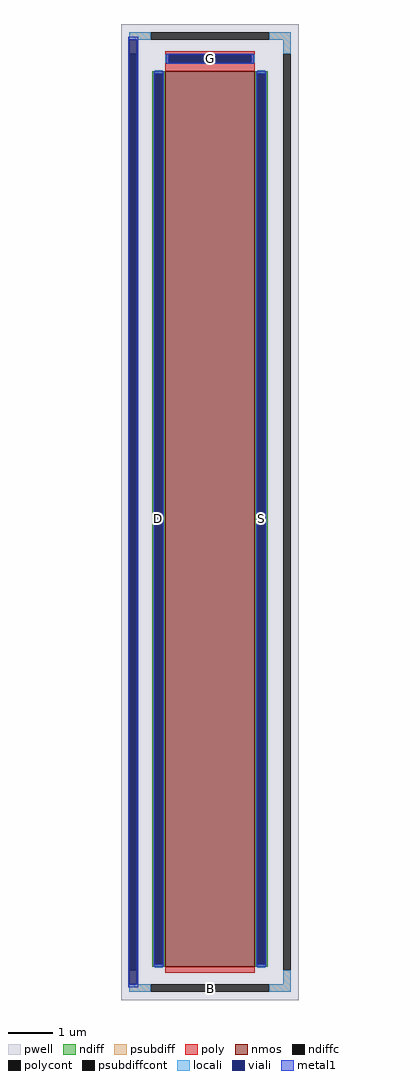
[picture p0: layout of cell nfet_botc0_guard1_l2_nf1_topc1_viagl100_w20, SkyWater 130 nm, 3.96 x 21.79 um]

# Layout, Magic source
magic
tech sky130A
magscale 1 2
<< pwell >>
rect -396 -2179 396 2179
<< nmos >>
rect -200 -2031 200 1969
<< ndiff >>
rect -258 1957 -200 1969
rect -258 -2019 -246 1957
rect -212 -2019 -200 1957
rect -258 -2031 -200 -2019
rect 200 1957 258 1969
rect 200 -2019 212 1957
rect 246 -2019 258 1957
rect 200 -2031 258 -2019
<< ndiffc >>
rect -246 -2019 -212 1957
rect 212 -2019 246 1957
<< psubdiff >>
rect -360 2109 -264 2143
rect 264 2109 360 2143
rect -360 2047 -326 2109
rect 326 2047 360 2109
rect -360 -2109 -326 -2047
rect 326 -2109 360 -2047
rect -360 -2143 -264 -2109
rect 264 -2143 360 -2109
<< psubdiffcont >>
rect -264 2109 264 2143
rect -360 -2047 -326 2047
rect 326 -2047 360 2047
rect -264 -2143 264 -2109
<< poly >>
rect -200 2041 200 2057
rect -200 2007 -184 2041
rect 184 2007 200 2041
rect -200 1969 200 2007
rect -200 -2057 200 -2031
<< polycont >>
rect -184 2007 184 2041
<< locali >>
rect -360 2109 -264 2143
rect 264 2109 360 2143
rect 326 2047 360 2109
rect -200 2007 -184 2041
rect 184 2007 200 2041
rect -246 1957 -212 1973
rect -246 -2035 -212 -2019
rect 212 1957 246 1973
rect 212 -2035 246 -2019
rect 326 -2109 360 -2047
rect -360 -2143 -264 -2109
rect 264 -2143 360 -2109
<< viali >>
rect -360 2047 -326 2109
rect -360 -2047 -326 2047
rect -184 2007 184 2041
rect -246 -2019 -212 1957
rect 212 -2019 246 1957
rect -360 -2109 -326 -2047
<< metal1 >>
rect -366 2109 -320 2121
rect -366 -2109 -360 2109
rect -326 -2109 -320 2109
rect -196 2041 196 2047
rect -196 2007 -184 2041
rect 184 2007 196 2041
rect -196 2001 196 2007
rect -252 1957 -206 1969
rect -252 -2019 -246 1957
rect -212 -2019 -206 1957
rect -252 -2031 -206 -2019
rect 206 1957 252 1969
rect 206 -2019 212 1957
rect 246 -2019 252 1957
rect 206 -2031 252 -2019
rect -366 -2121 -320 -2109
<< labels >>
rlabel psubdiffcont 0 -2126 0 -2126 0 B
port 1 nsew
rlabel ndiffc -229 -31 -229 -31 0 D
port 2 nsew
rlabel ndiffc 229 -31 229 -31 0 S
port 3 nsew
rlabel polycont 0 2024 0 2024 0 G
port 4 nsew
<< properties >>
string FIXED_BBOX -343 -2126 343 2126
string gencell sky130_fd_pr__nfet_01v8
string library sky130
string parameters w 20 l 2 m 1 nf 1 diffcov 100 polycov 100 guard 1 glc 1 grc 1 gtc 1 gbc 1 tbcov 100 rlcov 100 topc 1 botc 0 poverlap 0 doverlap 1 lmin 0.15 wmin 0.42 class mosfet compatible {sky130_fd_pr__nfet_01v8 sky130_fd_pr__nfet_01v8_lvt  sky130_fd_bs_flash__special_sonosfet_star  sky130_fd_pr__nfet_g5v0d10v5 sky130_fd_pr__nfet_05v0_nvt  sky130_fd_pr__nfet_03v3_nvt} full_metal 1 conn_gates 0 viasrc 100 viadrn 100 viagate 100 viagb 0 viagr 0 viagl 100 viagt 0 doports 1
<< end >>
